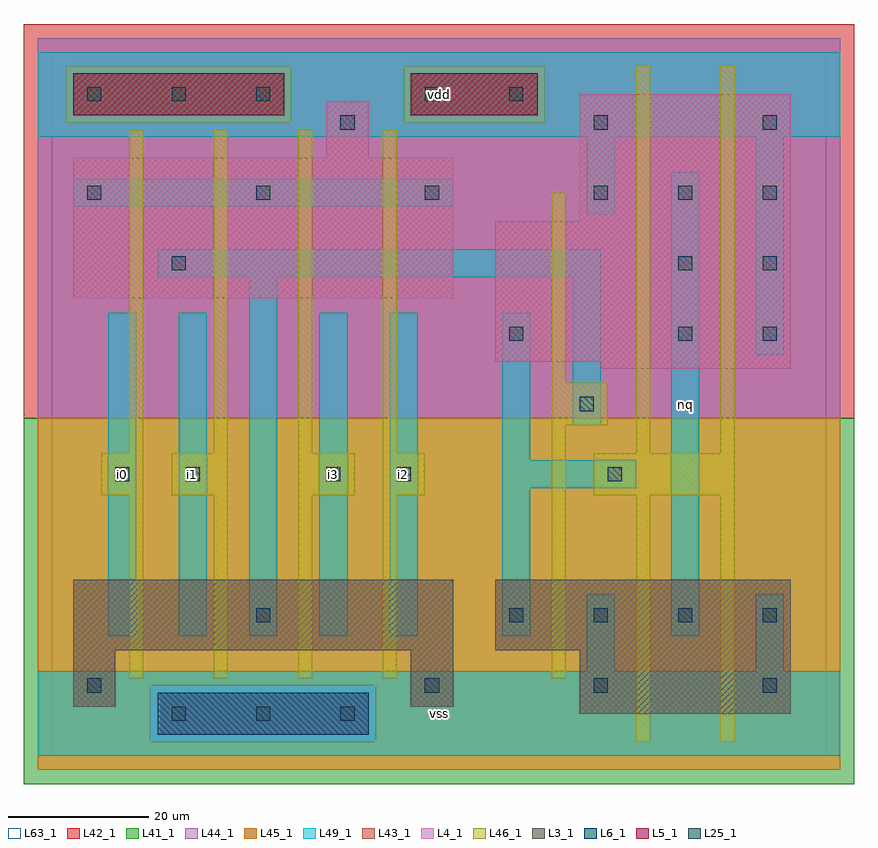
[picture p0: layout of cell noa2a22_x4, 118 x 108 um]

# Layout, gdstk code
import gdstk
lib = gdstk.Library(unit=1e-6, precision=1e-09)
def R(c, l, rs):  # rectangles x0, y0, x1, y1
    for r in rs: c.add(gdstk.rectangle(r[:2], r[2:], *l))
def A(c, l, x, y, w, h, nx, ny, dx, dy):  # array of equal rectangles
    R(c, l, [(x+i*dx, y+j*dy, x+i*dx+w, y+j*dy+h) for i in range(nx) for j in range(ny)])
L3_1 = (3, 1)
L4_1 = (4, 1)
L5_1 = (5, 1)
L6_1 = (6, 1)
L25_1 = (25, 1)
L41_1 = (41, 1)
L42_1 = (42, 1)
L43_1 = (43, 1)
L44_1 = (44, 1)
L45_1 = (45, 1)
L46_1 = (46, 1)
L49_1 = (49, 1)
L63_1 = (63, 1)

noa2a22_x4 = lib.new_cell('noa2a22_x4')
R(noa2a22_x4, L3_1, [(75,6,105,15), (3,7,9,15), (51,7,57,15), (3,15,57,25), (63,15,105,25)])
R(noa2a22_x4, L4_1, [(78,55,105,56), (63,56,105,76), (3,65,57,85), (75,76,105,94), (39,85,45,93)])
R(noa2a22_x4, L5_1, [(3,91,33,97), (51,91,69,97)])
R(noa2a22_x4, L6_1, [(15,3,45,9), (15,3,45,9)])
A(noa2a22_x4, L25_1, 17, 5, 2, 2, 3, 1, 12, 0)
A(noa2a22_x4, L25_1, 53, 9, 2, 2, 3, 1, 24, 0)
A(noa2a22_x4, L25_1, 65, 19, 2, 2, 4, 1, 12, 0)
A(noa2a22_x4, L25_1, 89, 59, 2, 2, 1, 3, 0, 10)
A(noa2a22_x4, L25_1, 101, 59, 2, 2, 1, 4, 0, 10)
A(noa2a22_x4, L25_1, 5, 79, 2, 2, 4, 1, 24, 0)
A(noa2a22_x4, L25_1, 5, 93, 2, 2, 3, 1, 12, 0)
R(noa2a22_x4, L25_1, [(5,9,7,11), (29,19,31,21), (9,39,11,41), (19,39,21,41), (39,39,41,41), (49,39,51,41), (79,39,81,41), (75,49,77,51), (65,59,67,61), (17,69,19,71), (41,89,43,91), (77,89,79,91), (53,93,55,95), (65,93,67,95)])
R(noa2a22_x4, L41_1, [(-4,-4,114,48)])
R(noa2a22_x4, L42_1, [(-4,48,114,104)])
R(noa2a22_x4, L43_1, [(15,3,45,9), (75,6,105,15), (3,7,9,15), (51,7,57,15), (3,15,57,25), (63,15,105,25), (78,55,105,56), (63,56,105,76), (3,65,57,85), (75,76,105,94), (39,85,45,93), (3,91,33,97), (51,91,69,97)])
R(noa2a22_x4, L44_1, [(14,2,46,10), (-2,48,112,90), (-2,90,2,98), (34,90,50,98), (70,90,112,98), (-2,98,112,102)])
R(noa2a22_x4, L45_1, [(-2,-2,112,2), (-2,2,14,10), (46,2,112,10), (-2,10,112,48), (2,90,34,98), (50,90,70,98)])
A(noa2a22_x4, L46_1, 11, 11, 2, 26, 4, 1, 12, 0)
A(noa2a22_x4, L46_1, 11, 43, 2, 46, 4, 1, 12, 0)
R(noa2a22_x4, L46_1, [(83,2,85,37), (95,2,97,37), (71,11,73,47), (7,37,13,43), (17,37,25,43), (35,37,43,43), (47,37,53,43), (77,37,97,43), (83,43,85,98), (95,43,97,98), (71,47,79,53), (71,53,73,80)])
R(noa2a22_x4, L49_1, [(-2,0,112,12), (76,12,80,23), (100,12,104,23), (8,17,12,63), (18,17,22,63), (28,17,32,68), (38,17,42,63), (48,17,52,63), (64,17,68,38), (88,17,92,83), (64,38,83,42), (64,42,68,63), (74,47,78,68), (100,57,104,88), (15,68,78,72), (76,77,80,88), (3,78,57,82), (-2,88,112,100)])
R(noa2a22_x4, L63_1, [(0,0,110,100)])
noa2a22_x4.add(gdstk.Label('i0', (10,40), layer=49, texttype=1))
noa2a22_x4.add(gdstk.Label('i3', (40,40), layer=49, texttype=1))
noa2a22_x4.add(gdstk.Label('i1', (20,40), layer=49, texttype=1))
noa2a22_x4.add(gdstk.Label('vss', (55,6), layer=49, texttype=1))
noa2a22_x4.add(gdstk.Label('i2', (50,40), layer=49, texttype=1))
noa2a22_x4.add(gdstk.Label('vdd', (55,94), layer=49, texttype=1))
noa2a22_x4.add(gdstk.Label('nq', (90,50), layer=49, texttype=1))

lib.write_gds('noa2a22_x4.gds')
